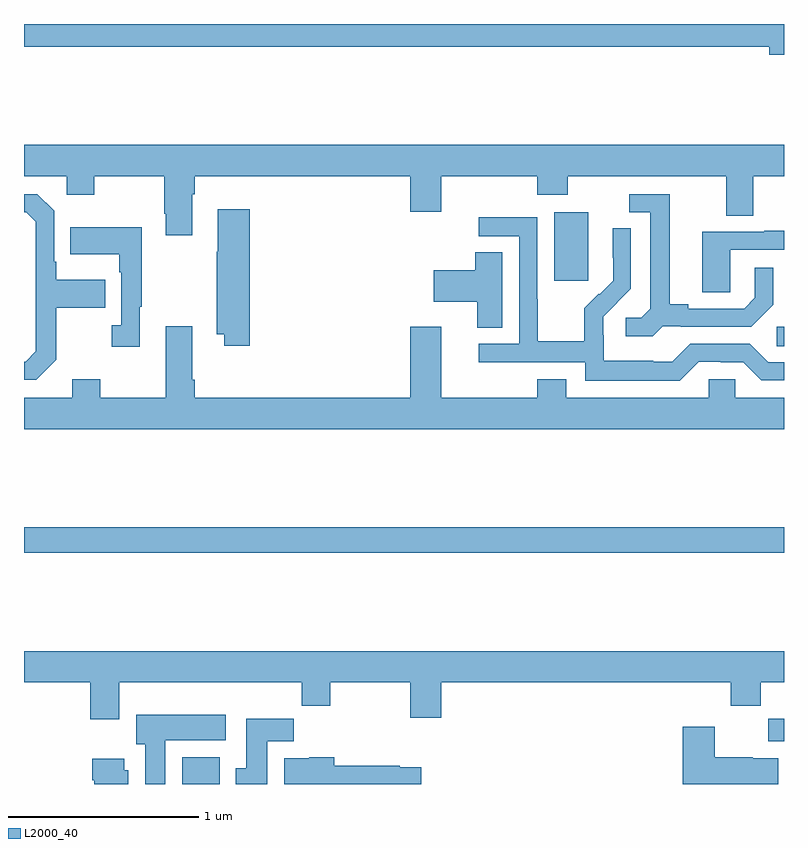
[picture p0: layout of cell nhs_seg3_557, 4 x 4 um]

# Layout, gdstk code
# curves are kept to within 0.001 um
import gdstk
lib = gdstk.Library(unit=1e-6, precision=1e-09)
def R(c, l, rs):  # rectangles x0, y0, x1, y1
    for r in rs: c.add(gdstk.rectangle(r[:2], r[2:], *l))
def P(c, l, *ps):  # polygons
    for p in ps: c.add(gdstk.Polygon(p, *l))
L2000_40 = (2000, 40)

nhs_seg3_557 = lib.new_cell('nhs_seg3_557')
R(nhs_seg3_557, L2000_40, [(139.833,680.4,140.029,680.542), (142.918,680.624,143,680.743), (139,681.616,143,681.752), (142.962,682.705,143,682.806), (141.791,683.049,141.97,683.41)])
P(nhs_seg3_557, L2000_40, [(143,684.4),(139,684.4),(139,684.28),(142.922,684.28),(142.922,684.238),(143,684.238)],
  [(139.885,683.504),(139.898,683.504),(139.898,683.6),(141.032,683.6),(141.032,683.412),(141.196,683.412),(141.196,683.6),(141.701,683.6),(141.701,683.501),(141.861,683.501),(141.861,683.6),(142.697,683.6),(142.697,683.392),(142.837,683.392),(142.837,683.6),(143,683.6),(143,683.764),(139,683.764),(139,683.6),(139.224,683.6),(139.224,683.501),(139.371,683.501),(139.371,683.6),(139.738,683.6),(139.738,683.401),(139.745,683.401),(139.745,683.289),(139.885,683.289)],
  [(139.171,682.633),(139.171,682.906),(139.427,682.906),(139.427,683.053),(139.171,683.053),(139.171,683.149),(139.158,683.149),(139.158,683.418),(139.071,683.505),(139,683.505),(139,683.409),(139.011,683.409),(139.062,683.358),(139.062,682.677),(139.008,682.623),(139,682.623),(139,682.527),(139.065,682.527)],
  [(142.362,682.809),(142.456,682.809),(142.456,682.806),(142.828,682.806),(142.944,682.922),(142.944,683.116),(142.847,683.116),(142.847,682.959),(142.79,682.902),(142.495,682.902),(142.495,682.925),(142.399,682.925),(142.399,683.505),(142.185,683.505),(142.185,683.409),(142.295,683.409),(142.295,682.901),(142.248,682.854),(142.167,682.854),(142.167,682.757),(142.31,682.757)],
  [(140.189,683.425),(140.021,683.425),(140.021,683.201),(140.014,683.201),(140.014,682.766),(140.054,682.766),(140.054,682.707),(140.189,682.707)],
  [(142.551,682.623),(142.667,682.623),(142.667,682.62),(142.785,682.62),(142.881,682.524),(143,682.524),(143,682.62),(142.917,682.62),(142.821,682.716),(142.506,682.716),(142.413,682.623),(142.313,682.623),(142.313,682.627),(142.05,682.627),(142.05,682.761),(142.048,682.761),(142.048,682.858),(142.194,683.006),(142.194,683.324),(142.098,683.324),(142.098,683.17),(142.1,683.17),(142.1,683.048),(142.029,682.977),(142.026,682.98),(141.949,682.903),(141.949,682.729),(141.705,682.729),(141.705,682.952),(141.702,682.952),(141.702,683.382),(141.393,683.382),(141.393,683.283),(141.606,683.283),(141.606,682.716),(141.393,682.716),(141.393,682.62),(141.954,682.62),(141.954,682.523),(142.451,682.523)],
  [(139.609,682.913),(139.621,682.913),(139.621,683.329),(139.243,683.329),(139.243,683.189),(139.5,683.189),(139.5,683.093),(139.512,683.093),(139.512,682.814),(139.461,682.814),(139.461,682.701),(139.609,682.701)],
  [(142.716,683.211),(143,683.211),(143,683.311),(142.895,683.311),(142.895,683.307),(142.571,683.307),(142.571,682.987),(142.716,682.987)],
  [(141.517,683.198),(141.374,683.198),(141.374,683.103),(141.156,683.103),(141.156,682.937),(141.386,682.937),(141.386,682.801),(141.517,682.801)],
  [(143,682.432),(142.743,682.432),(142.743,682.53),(142.605,682.53),(142.605,682.432),(141.853,682.432),(141.853,682.531),(141.701,682.531),(141.701,682.432),(141.196,682.432),(141.196,682.807),(141.032,682.807),(141.032,682.432),(139.898,682.432),(139.898,682.528),(139.885,682.528),(139.885,682.81),(139.745,682.81),(139.745,682.432),(139.401,682.432),(139.401,682.531),(139.253,682.531),(139.253,682.432),(139,682.432),(139,682.268),(143,682.268)],
  [(139.501,680.936),(140.461,680.936),(140.461,680.812),(140.613,680.812),(140.613,680.936),(141.032,680.936),(141.032,680.748),(141.196,680.748),(141.196,680.936),(142.721,680.936),(142.721,680.812),(142.877,680.812),(142.877,680.936),(143,680.936),(143,681.1),(139,681.1),(139,680.936),(139.349,680.936),(139.349,680.742),(139.501,680.742)],
  [(139.744,680.63),(140.062,680.63),(140.062,680.764),(139.592,680.764),(139.592,680.61),(139.637,680.61),(139.637,680.4),(139.744,680.4)],
  [(140.281,680.624),(140.42,680.624),(140.42,680.743),(140.171,680.743),(140.171,680.484),(140.114,680.484),(140.114,680.4),(140.281,680.4)],
  [(142.969,680.536),(142.836,680.536),(142.836,680.542),(142.636,680.542),(142.636,680.701),(142.466,680.701),(142.466,680.4),(142.969,680.4)],
  [(141.091,680.488),(140.978,680.488),(140.978,680.496),(140.633,680.496),(140.633,680.542),(140.502,680.542),(140.502,680.536),(140.369,680.536),(140.369,680.4),(141.091,680.4)],
  [(139.549,680.472),(139.528,680.472),(139.528,680.533),(139.358,680.533),(139.358,680.42),(139.37,680.42),(139.37,680.4),(139.549,680.4)])

lib.write_gds('nhs_seg3_557.gds')
